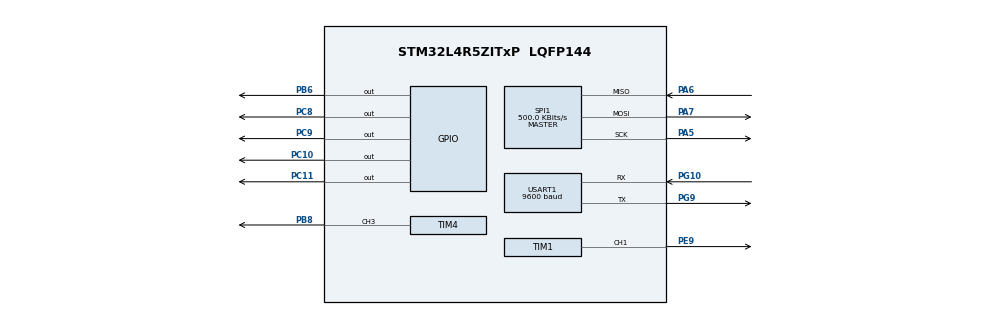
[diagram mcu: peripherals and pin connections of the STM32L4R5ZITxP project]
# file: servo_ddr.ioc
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Mcu.Family=STM32L4
Mcu.Name=STM32L4R5ZITxP
Mcu.Package=LQFP144
NVIC.PriorityGroup=NVIC_PRIORITYGROUP_4
PA0.Signal=S_TIM2_CH1
PA1.Signal=ADCx_IN6
PA10.Signal=USB_OTG_FS_ID
PA13\ (JTMS/SWDIO).Signal=SYS_JTMS-SWDIO
PA14\ (JTCK/SWCLK).Signal=SYS_JTCK-SWCLK
PA3.Signal=ADCx_IN8
PA4.Signal=SPI1_NSS
PA5.Mode=Full_Duplex_Master
PA5.Signal=SPI1_SCK
PA6.Mode=Full_Duplex_Master
PA6.Signal=SPI1_MISO
PA7.Mode=Full_Duplex_Master
PA7.Signal=SPI1_MOSI
PA8.Signal=USB_OTG_FS_SOF
PA9.Signal=USB_OTG_FS_VBUS
PB1.Signal=ADCx_IN16
PB10.Signal=S_TIM2_CH3
PB12.Signal=SAI2_FS_A
PB13.Signal=SAI2_SCK_A
PB14.Signal=S_TIM15_CH1
PB15.Signal=SAI2_SD_A
PB2.Signal=COMP1_INP
PB3\ (JTDO/TRACESWO).Signal=SPI3_SCK
PB4\ (NJTRST).Signal=SPI3_MISO
PB5.Signal=SPI3_MOSI
PB6.Signal=GPIO_Output
PB8.Signal=S_TIM4_CH3
PC0.Signal=ADCx_IN1
PC1.Signal=ADCx_IN2
PC10.Signal=GPIO_Output
PC11.Signal=GPIO_Output
PC12.Signal=SDMMC1_CK
PC13.Signal=SYS_WKUP2
PC14-OSC32_IN\ (PC14).Signal=RCC_OSC32_IN
PC15-OSC32_OUT\ (PC15).Signal=RCC_OSC32_OUT
PC2.Signal=ADCx_IN3
PC3.Signal=ADCx_IN4
PC4.Signal=ADCx_IN13
PC5.Signal=ADCx_IN14
PC6.Signal=SAI2_MCLK_A
PC7.Signal=S_TIM3_CH2
PC8.Signal=GPIO_Output
PC9.Signal=GPIO_Output
PD0.Signal=CAN1_RX
PD2.Signal=SDMMC1_CMD
PD3.Signal=USART2_CTS
PD4.Signal=USART2_RTS
PD5.Signal=USART2_TX
PD6.Signal=USART2_RX
PD8.Signal=USART3_TX
PD9.Signal=USART3_RX
PE0.Signal=S_TIM4_ETR
PE10.Signal=TIM1_CH2N
PE11.Signal=S_TIM1_CH2
PE12.Signal=TIM1_CH3N
PE13.Signal=S_TIM1_CH3
PE14.Signal=TIM1_BKIN2
PE15.Signal=TIM1_BKIN
PE2.Signal=SAI1_MCLK_A
PE3.Signal=SAI1_SD_B
PE7.Signal=S_TIM1_ETR
PE8.Signal=TIM1_CH1N
PE9.Signal=S_TIM1_CH1
PF0.Signal=I2C2_SDA
PF1.Signal=I2C2_SCL
PF2.Signal=I2C2_SMBA
PF7.Signal=SAI1_MCLK_B
PG10.Mode=Asynchronous
PG10.Signal=USART1_RX
PG7.Signal=LPUART1_TX
PG8.Signal=LPUART1_RX
PG9.Mode=Asynchronous
PG9.Signal=USART1_TX
PH0-OSC_IN\ (PH0).Signal=RCC_OSC_IN
PH1-OSC_OUT\ (PH1).Signal=RCC_OSC_OUT
ProjectManager.HeapSize=0x200
ProjectManager.StackSize=0x400
ProjectManager.TargetToolchain=STM32CubeIDE
RCC.HSE_VALUE=8000000
RCC.HSI48_VALUE=48000000
RCC.HSI_VALUE=16000000
RCC.LSE_VALUE=32768
RCC.MSI_VALUE=4000000
RCC.VCOOutputFreq_Value=32000000
SH.ADCx_IN1.0=ADC1_IN1
SH.ADCx_IN13.0=ADC1_IN13
SH.ADCx_IN14.0=ADC1_IN14
SH.ADCx_IN16.0=ADC1_IN16
SH.ADCx_IN2.0=ADC1_IN2
SH.ADCx_IN3.0=ADC1_IN3
SH.ADCx_IN4.0=ADC1_IN4
SH.ADCx_IN6.0=ADC1_IN6
SH.ADCx_IN8.0=ADC1_IN8
SH.S_TIM15_CH1.0=TIM15_CH1
SH.S_TIM1_CH1.0=TIM1_CH1,PWM Generation1 CH1
SH.S_TIM1_CH2.0=TIM1_CH2
SH.S_TIM1_CH3.0=TIM1_CH3
SH.S_TIM1_ETR.0=TIM1_ETR
SH.S_TIM2_CH1.0=TIM2_CH1
SH.S_TIM2_CH3.0=TIM2_CH3
SH.S_TIM3_CH2.0=TIM3_CH2
SH.S_TIM4_CH3.0=TIM4_CH3,PWM Generation3 CH3
SH.S_TIM4_ETR.0=TIM4_ETR
SPI1.BaudRatePrescaler=SPI_BAUDRATEPRESCALER_8
SPI1.CLKPhase=SPI_PHASE_2EDGE
SPI1.CLKPolarity=SPI_POLARITY_HIGH
SPI1.CalculateBaudRate=500.0 KBits/s
SPI1.DataSize=SPI_DATASIZE_8BIT
SPI1.Direction=SPI_DIRECTION_2LINES
SPI1.FirstBit=SPI_FIRSTBIT_LSB
SPI1.Mode=SPI_MODE_MASTER
SPI1.VirtualType=VM_MASTER
TIM1.Channel-PWM\ Generation1\ CH1=TIM_CHANNEL_1
TIM1.Period=20000
TIM1.Prescaler=3
TIM1.Pulse-PWM\ Generation1\ CH1=1300
TIM4.Channel-PWM\ Generation1\ CH1=TIM_CHANNEL_1
TIM4.Channel-PWM\ Generation3\ CH3=TIM_CHANNEL_3
TIM4.Period=20000
TIM4.Prescaler=3
TIM4.Pulse-PWM\ Generation3\ CH3=1700
USART1.BaudRate=9600
USART1.VirtualMode-Asynchronous=VM_ASYNC
VP_TIM1_VS_ClockSourceINT.Mode=Internal
VP_TIM4_VS_ClockSourceINT.Mode=Internal
board=NUCLEO-L4R5ZI-P

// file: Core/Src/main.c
/* USER CODE BEGIN Header */
/**
 ******************************************************************************
 * @file           : main.c
 * @brief          : Main program body
 ******************************************************************************
 * @attention
 *
 * Copyright (c) 2023 STMicroelectronics.
 * All rights reserved.
 *
 * This software is licensed under terms that can be found in the LICENSE file
 * in the root directory of this software component.
 * If no LICENSE file comes with this software, it is provided AS-IS.
 *
 ******************************************************************************
 */
/* USER CODE END Header */
#include "main.h"

SPI_HandleTypeDef hspi1;

TIM_HandleTypeDef htim1;
TIM_HandleTypeDef htim4;

UART_HandleTypeDef huart1;

/* USER CODE BEGIN PV */
// First 5 bytes of DDR pad -> 01 - 03: Header (Will Not Change) & 04 - 05: Digital BTN Values
uint8_t ddr_tx[5] =  {0x01, 0x42, 0x00, 0x00, 0x00};
uint8_t ddr_rx[5];
// ddr pad buffer for eliminating noise (update both when changing)
int ddr_buf_size = 4;
char ddr_buf[4];

int num_u = 0;
int num_d = 0;
int num_l = 0;
int num_r = 0;
int num_s = 0;
int num_x = 0;

int uart_tx_size = 19;
int uart_rx_size = 24;
int punchThreshold = 750;
int leftPunch = 0;
int rightPunch = 0;
int leftPunchDone = 1;
int rightPunchDone = 1;
/* USER CODE END PV */

void SystemClock_Config(void);
static void MX_GPIO_Init(void);
static void MX_SPI1_Init(void);
static void MX_TIM4_Init(void);
static void MX_TIM1_Init(void);
static void MX_USART1_UART_Init(void);

/* USER CODE BEGIN 0 */

/*
 * poll_accell: sends a polling instruction to one of the two handheld XBEE
 * + accelerometer combos. The XBEE returns a packet of data which poll_accel
 * parses and returns the ADC value from the accelerometer
 * */
int poll_accel(uint8_t tx_buf[]){
	uint8_t rx_buf[uart_rx_size];
	//HAL_GPIO_WritePin(GPIOC, GPIO_PIN_9, GPIO_PIN_RESET);
	HAL_StatusTypeDef valT = HAL_UART_Transmit(&huart1, &tx_buf[0], uart_tx_size, 50);
	HAL_StatusTypeDef valR = HAL_UART_Receive(&huart1, &rx_buf[0], uart_rx_size, 100);
	if(valR == HAL_TIMEOUT) {
		//Debug using GPIO
		//HAL_GPIO_WritePin(GPIOC, GPIO_PIN_9, GPIO_PIN_SET);
		/*
		 * Occasionally the XBEE will give garbled data that sends UART into
		 * an infinite timeout loop, these statements are used to reset it
		*/
		HAL_UART_DeInit(&huart1);
		HAL_UART_Init(&huart1);
		return 0;
	}
	return (rx_buf[uart_rx_size - 3] << 8 | rx_buf[uart_rx_size - 2]);
}

// used by punch_logic to activate the left, right, or left and right solenoids
void punch(int left, int right) {
	if(right) {
		HAL_GPIO_WritePin(GPIOC, GPIO_PIN_9, GPIO_PIN_RESET);
		HAL_GPIO_WritePin(GPIOC, GPIO_PIN_8, GPIO_PIN_SET);
	}
	if(left){
		HAL_GPIO_WritePin(GPIOC, GPIO_PIN_11, GPIO_PIN_RESET);
		HAL_GPIO_WritePin(GPIOC, GPIO_PIN_10, GPIO_PIN_SET);
	}
	HAL_Delay(40);
	if(right) {
		HAL_GPIO_WritePin(GPIOC, GPIO_PIN_8, GPIO_PIN_RESET);
		HAL_GPIO_WritePin(GPIOC, GPIO_PIN_9, GPIO_PIN_SET);
	}
	if(left) {
		HAL_GPIO_WritePin(GPIOC, GPIO_PIN_10, GPIO_PIN_RESET);
		HAL_GPIO_WritePin(GPIOC, GPIO_PIN_11, GPIO_PIN_SET);
	}
	HAL_Delay(100);
	HAL_GPIO_WritePin(GPIOC, GPIO_PIN_8, GPIO_PIN_RESET);
	HAL_GPIO_WritePin(GPIOC, GPIO_PIN_9, GPIO_PIN_RESET);
	HAL_GPIO_WritePin(GPIOC, GPIO_PIN_10, GPIO_PIN_RESET);
	HAL_GPIO_WritePin(GPIOC, GPIO_PIN_11, GPIO_PIN_RESET);
	leftPunch = 0;
	rightPunch = 0;
	return;
}

// takes in the left and right accel values and activates solenoids using punch
void punch_logic(int left_accel_val, int right_accel_val) {
	if(leftPunchDone) {
				if(left_accel_val > punchThreshold) {
					leftPunch = 1;
					leftPunchDone = 0;
				}
			} else {
				if(left_accel_val < punchThreshold) {
					leftPunchDone = 1;
				}
			}
			if(rightPunchDone) {
				if(right_accel_val > punchThreshold) {
					rightPunch = 1;
					rightPunchDone = 0;
				}
			} else {
				if(right_accel_val < punchThreshold) {
					rightPunchDone = 1;
				}
			}

			if (leftPunch | rightPunch) {
				punch(leftPunch, rightPunch);
			}
	return;
}

/*
 * This functions breaks down the 4th byte extracted from the DDR pad
 * and return a char of the designated direction
 */
char bit_extract (uint8_t ddr_byte_3, uint8_t ddr_byte_4) {
	// Grab up
	uint8_t up = (ddr_byte_3 << 3) >> 7;
	uint8_t right = (ddr_byte_3 << 2) >> 7;
	uint8_t left = (ddr_byte_3 << 0) >> 7;
	uint8_t down = (ddr_byte_3 << 1) >> 7;
	uint8_t circ = (ddr_byte_4 << 2) >> 7;

	up &= (0b1);
	right &= (0b1);
	left &= (0b1);
	down &= (0b1);
	circ &= (0b1);
	if (!circ)
		return 's';
	else if(!up)
		return 'u';
	else if (!right)
		return 'r';
	else if (!left)
		return 'l';
	else if (!down)
		return 'd';

	return 'x';
}

// polls the ddr pad and loads result in ddr_rx
char poll_ddr(){
	// DDR Pad Data Request - These values (ddr_rx[4] & ddr_rx[5] will be used for the movement)
	// RESET ATTN line before sent/receive
	HAL_GPIO_WritePin(GPIOB, GPIO_PIN_6, GPIO_PIN_RESET);

	// Transmit/Receive byte by byte
	HAL_SPI_TransmitReceive(&hspi1, &ddr_tx[0], &ddr_rx[0], 1, 100);
	HAL_SPI_TransmitReceive(&hspi1, &ddr_tx[1], &ddr_rx[1], 1, 100);
	HAL_SPI_TransmitReceive(&hspi1, &ddr_tx[2], &ddr_rx[2], 1, 100);
	HAL_SPI_TransmitReceive(&hspi1, &ddr_tx[3], &ddr_rx[3], 1, 100);
	HAL_SPI_TransmitReceive(&hspi1, &ddr_tx[4], &ddr_rx[4], 1, 100);

	// SET ATTN line after sent/receive
	HAL_GPIO_WritePin(GPIOB, GPIO_PIN_6, GPIO_PIN_SET);

	//calculate directional output using an 8 poll buffer
	char direction = bit_extract(ddr_rx[3], ddr_rx[4]);

	//update counts
	if (direction == 'u')
		num_u += 1;
	else if (direction == 'd')
		num_d += 1;
	else if (direction == 'l')
		num_l += 1;
	else if (direction == 'r')
		num_r += 1;
	else if (direction == 's')
		num_s += 1;
	else
		num_x += 1;

	if (ddr_buf[ddr_buf_size - 1] == 'u')
		num_u -= 1;
	else if (ddr_buf[ddr_buf_size - 1] == 'd')
		num_d -= 1;
	else if (ddr_buf[ddr_buf_size - 1] == 'l')
		num_l -= 1;
	else if (ddr_buf[ddr_buf_size - 1] == 'r')
		num_r -= 1;
	else if (ddr_buf[ddr_buf_size - 1] == 's')
			num_s -= 1;
	else
		num_x -= 1;

	//update buffer
	for(int i = ddr_buf_size - 1; i > 0; i--){
		ddr_buf[i] = ddr_buf[i-1];
	}
	ddr_buf[0] = direction;

	//return if majority
	int majority = ddr_buf_size/2 + 1;
	if (num_u >= majority)
		return 'u';
	else if (num_d >= majority)
		return 'd';
	else if (num_l >= majority)
		return 'l';
	else if (num_r >= majority)
		return 'r';
	else if (num_s >= majority)
		return 's';
	else
		return 'x';

}

// FOR THE CODE BELOW YOU MIGHT NEED TO HAVE IT STOP ACCEPTING INPUT IF THE X OR Y DIRECTION REACHES ITS MINIMUM/MAXIMUM

// Increase or Decrease left Servo position
int left_pos_change (char dir) {
	int extend = 2100;
	int dodge = 1900;
	int retract = 1500;
	int neutral = 1700;
	// Change Servo Position based on input from DDR pad
	switch(dir) {
	case 'u':
		return extend;
	case 'd':
		return retract;
	case 'l':
		return retract;
	case 'r':
		return dodge;
	default:
		return neutral;
	}
}

// Increase or Decrease right Servo position
int right_pos_change (char dir) {
	int extend = 900;
	int dodge = 1100;
	int retract = 1500;
	int neutral = 1300;
	// Change Servo Position based on input from DDR pad
	switch(dir) {
	case 'u':
		return extend;
	case 'd':
		return retract;
	case 'l':
		return dodge;
	case 'r':
		return retract;
	default:
		return neutral;
	}
}

// takes ddr data in rx_buf and writes to the servos
void move(char direction) {

	// Send Info to left and right servos
	int left_pos = left_pos_change(direction);
	int right_pos = right_pos_change(direction);
	//leftpos = 1100 rightpos = 1900 is back
	//leftpos = 1900 rightpos = 1100 is front
	__HAL_TIM_SetCompare(&htim4, TIM_CHANNEL_3, left_pos);
	__HAL_TIM_SetCompare(&htim1, TIM_CHANNEL_1, right_pos);
	return;
}

/* USER CODE END 0 */

int main(void)
{

  /* MCU Configuration--------------------------------------------------------*/

  /* Reset of all peripherals, Initializes the Flash interface and the Systick. */
  HAL_Init();

  /* Configure the system clock */
  SystemClock_Config();

  /* Initialize all configured peripherals */
  MX_GPIO_Init();
  MX_SPI1_Init();
  MX_TIM4_Init();
  MX_TIM1_Init();
  MX_USART1_UART_Init();
  /* USER CODE BEGIN 2 */

	//Reset all GPIO pins
	HAL_GPIO_WritePin(GPIOC, GPIO_PIN_8, GPIO_PIN_RESET);
	HAL_GPIO_WritePin(GPIOC, GPIO_PIN_9, GPIO_PIN_RESET);
	HAL_GPIO_WritePin(GPIOC, GPIO_PIN_10, GPIO_PIN_RESET);
	HAL_GPIO_WritePin(GPIOC, GPIO_PIN_11, GPIO_PIN_RESET);

	//Set buffers to XBEE polling commands
	uint8_t left_tx_buf[uart_tx_size];
	uint8_t right_tx_buf[uart_tx_size];

	//LEFT HAND "OK TAPE"
	left_tx_buf[0] = 0x7E;
	left_tx_buf[1] = 0x00;
	left_tx_buf[2] = 0x0F;
	left_tx_buf[3] = 0x17;
	left_tx_buf[4] = 0x01;
	left_tx_buf[5] = 0x00;
	left_tx_buf[6] = 0x13;
	left_tx_buf[7] = 0xA2;
	left_tx_buf[8] = 0x00;
	left_tx_buf[9] = 0x40;
	left_tx_buf[10] = 0xDC;
	left_tx_buf[11] = 0xEB;
	left_tx_buf[12] = 0x52;
	left_tx_buf[13] = 0xFF;
	left_tx_buf[14] = 0xFE;
	left_tx_buf[15] = 0x02;
	left_tx_buf[16] = 0x69;
	left_tx_buf[17] = 0x73;
	left_tx_buf[18] = 0xFE;

	//RIGHT HAND "OK"
	right_tx_buf[0] = 0x7E;
	right_tx_buf[1] = 0x00;
	right_tx_buf[2] = 0x0F;
	right_tx_buf[3] = 0x17;
	right_tx_buf[4] = 0x01;
	right_tx_buf[5] = 0x00;
	right_tx_buf[6] = 0x13;
	right_tx_buf[7] = 0xA2;
	right_tx_buf[8] = 0x00;
	right_tx_buf[9] = 0x40;
	right_tx_buf[10] = 0xDC;
	right_tx_buf[11] = 0x2F;
	right_tx_buf[12] = 0x3A;
	right_tx_buf[13] = 0xFF;
	right_tx_buf[14] = 0xFE;
	right_tx_buf[15] = 0x02;
	right_tx_buf[16] = 0x69;
	right_tx_buf[17] = 0x73;
	right_tx_buf[18] = 0xD2;

	// Dance Dance Revolution Pad Set-up/Variables

	// This is for the Attention Line for DDR pad (GPIO_Output)
	// *PLEASE NOTE* - the ATTN Line must be RESET before a Transmit/Receive through SPI and then must be SET after
	HAL_GPIO_WritePin(GPIOB, GPIO_PIN_6, GPIO_PIN_SET);
	for(int i = 0; i < ddr_buf_size; i++){
		ddr_buf[i] = 'x';
		num_x += 1;
	}

	// Start up PWM Timers
	HAL_TIM_PWM_Start(&htim4, TIM_CHANNEL_3);
	HAL_TIM_PWM_Start(&htim1, TIM_CHANNEL_1);

	char game_start = 'x';
	while(game_start != 's'){
		game_start = poll_ddr();
	}
	while(game_start == 's'){
		game_start = poll_ddr();
	}
  /* USER CODE END 2 */

  /* Infinite loop */
  /* USER CODE BEGIN WHILE */
	while (1)
	{
		// Left and Right Accelerometer Values
		int left_accel_val = poll_accel(left_tx_buf);
		int right_accel_val = poll_accel(right_tx_buf);
		punch_logic(left_accel_val, right_accel_val);
		char direction = poll_ddr();
		if(direction == 's') {

			// Toggle On/Off
			while(direction == 's'){
				direction = poll_ddr();
			}
			while(direction != 's'){
				direction = poll_ddr();
			}
			while(direction == 's'){
				direction = poll_ddr();
			}

		}
		move(direction);

    /* USER CODE END WHILE */

	}
}

void SystemClock_Config(void)
{
  RCC_OscInitTypeDef RCC_OscInitStruct = {0};
  RCC_ClkInitTypeDef RCC_ClkInitStruct = {0};

  /** Configure the main internal regulator output voltage
  */
  if (HAL_PWREx_ControlVoltageScaling(PWR_REGULATOR_VOLTAGE_SCALE1) != HAL_OK)
  {
    Error_Handler();
  }

  /** Initializes the RCC Oscillators according to the specified parameters
  * in the RCC_OscInitTypeDef structure.
  */
  RCC_OscInitStruct.OscillatorType = RCC_OSCILLATORTYPE_MSI;
  RCC_OscInitStruct.MSIState = RCC_MSI_ON;
  RCC_OscInitStruct.MSICalibrationValue = 0;
  RCC_OscInitStruct.MSIClockRange = RCC_MSIRANGE_6;
  RCC_OscInitStruct.PLL.PLLState = RCC_PLL_NONE;
  if (HAL_RCC_OscConfig(&RCC_OscInitStruct) != HAL_OK)
  {
    Error_Handler();
  }

  /** Initializes the CPU, AHB and APB buses clocks
  */
  RCC_ClkInitStruct.ClockType = RCC_CLOCKTYPE_HCLK|RCC_CLOCKTYPE_SYSCLK
                              |RCC_CLOCKTYPE_PCLK1|RCC_CLOCKTYPE_PCLK2;
  RCC_ClkInitStruct.SYSCLKSource = RCC_SYSCLKSOURCE_MSI;
  RCC_ClkInitStruct.AHBCLKDivider = RCC_SYSCLK_DIV1;
  RCC_ClkInitStruct.APB1CLKDivider = RCC_HCLK_DIV1;
  RCC_ClkInitStruct.APB2CLKDivider = RCC_HCLK_DIV1;

  if (HAL_RCC_ClockConfig(&RCC_ClkInitStruct, FLASH_LATENCY_0) != HAL_OK)
  {
    Error_Handler();
  }
}

static void MX_SPI1_Init(void)
{

  /* SPI1 parameter configuration*/
  hspi1.Instance = SPI1;
  hspi1.Init.Mode = SPI_MODE_MASTER;
  hspi1.Init.Direction = SPI_DIRECTION_2LINES;
  hspi1.Init.DataSize = SPI_DATASIZE_8BIT;
  hspi1.Init.CLKPolarity = SPI_POLARITY_HIGH;
  hspi1.Init.CLKPhase = SPI_PHASE_2EDGE;
  hspi1.Init.NSS = SPI_NSS_SOFT;
  hspi1.Init.BaudRatePrescaler = SPI_BAUDRATEPRESCALER_8;
  hspi1.Init.FirstBit = SPI_FIRSTBIT_LSB;
  hspi1.Init.TIMode = SPI_TIMODE_DISABLE;
  hspi1.Init.CRCCalculation = SPI_CRCCALCULATION_DISABLE;
  hspi1.Init.CRCPolynomial = 7;
  hspi1.Init.CRCLength = SPI_CRC_LENGTH_DATASIZE;
  hspi1.Init.NSSPMode = SPI_NSS_PULSE_DISABLE;
  if (HAL_SPI_Init(&hspi1) != HAL_OK)
  {
    Error_Handler();
  }

}

static void MX_TIM1_Init(void)
{

  TIM_ClockConfigTypeDef sClockSourceConfig = {0};
  TIM_MasterConfigTypeDef sMasterConfig = {0};
  TIM_OC_InitTypeDef sConfigOC = {0};
  TIM_BreakDeadTimeConfigTypeDef sBreakDeadTimeConfig = {0};

  htim1.Instance = TIM1;
  htim1.Init.Prescaler = 3;
  htim1.Init.CounterMode = TIM_COUNTERMODE_UP;
  htim1.Init.Period = 20000;
  htim1.Init.ClockDivision = TIM_CLOCKDIVISION_DIV1;
  htim1.Init.RepetitionCounter = 0;
  htim1.Init.AutoReloadPreload = TIM_AUTORELOAD_PRELOAD_DISABLE;
  if (HAL_TIM_Base_Init(&htim1) != HAL_OK)
  {
    Error_Handler();
  }
  sClockSourceConfig.ClockSource = TIM_CLOCKSOURCE_INTERNAL;
  if (HAL_TIM_ConfigClockSource(&htim1, &sClockSourceConfig) != HAL_OK)
  {
    Error_Handler();
  }
  if (HAL_TIM_PWM_Init(&htim1) != HAL_OK)
  {
    Error_Handler();
  }
  sMasterConfig.MasterOutputTrigger = TIM_TRGO_RESET;
  sMasterConfig.MasterOutputTrigger2 = TIM_TRGO2_RESET;
  sMasterConfig.MasterSlaveMode = TIM_MASTERSLAVEMODE_DISABLE;
  if (HAL_TIMEx_MasterConfigSynchronization(&htim1, &sMasterConfig) != HAL_OK)
  {
    Error_Handler();
  }
  sConfigOC.OCMode = TIM_OCMODE_PWM1;
  sConfigOC.Pulse = 1300;
  sConfigOC.OCPolarity = TIM_OCPOLARITY_HIGH;
  sConfigOC.OCNPolarity = TIM_OCNPOLARITY_HIGH;
  sConfigOC.OCFastMode = TIM_OCFAST_DISABLE;
  sConfigOC.OCIdleState = TIM_OCIDLESTATE_RESET;
  sConfigOC.OCNIdleState = TIM_OCNIDLESTATE_RESET;
  if (HAL_TIM_PWM_ConfigChannel(&htim1, &sConfigOC, TIM_CHANNEL_1) != HAL_OK)
  {
    Error_Handler();
  }
  sBreakDeadTimeConfig.OffStateRunMode = TIM_OSSR_DISABLE;
  sBreakDeadTimeConfig.OffStateIDLEMode = TIM_OSSI_DISABLE;
  sBreakDeadTimeConfig.LockLevel = TIM_LOCKLEVEL_OFF;
  sBreakDeadTimeConfig.DeadTime = 0;
  sBreakDeadTimeConfig.BreakState = TIM_BREAK_DISABLE;
  sBreakDeadTimeConfig.BreakPolarity = TIM_BREAKPOLARITY_HIGH;
  sBreakDeadTimeConfig.BreakFilter = 0;
  sBreakDeadTimeConfig.Break2State = TIM_BREAK2_DISABLE;
  sBreakDeadTimeConfig.Break2Polarity = TIM_BREAK2POLARITY_HIGH;
  sBreakDeadTimeConfig.Break2Filter = 0;
  sBreakDeadTimeConfig.AutomaticOutput = TIM_AUTOMATICOUTPUT_DISABLE;
  if (HAL_TIMEx_ConfigBreakDeadTime(&htim1, &sBreakDeadTimeConfig) != HAL_OK)
  {
    Error_Handler();
  }
  HAL_TIM_MspPostInit(&htim1);

}

static void MX_TIM4_Init(void)
{

  TIM_ClockConfigTypeDef sClockSourceConfig = {0};
  TIM_MasterConfigTypeDef sMasterConfig = {0};
  TIM_OC_InitTypeDef sConfigOC = {0};

  htim4.Instance = TIM4;
  htim4.Init.Prescaler = 3;
  htim4.Init.CounterMode = TIM_COUNTERMODE_UP;
  htim4.Init.Period = 20000;
  htim4.Init.ClockDivision = TIM_CLOCKDIVISION_DIV1;
  htim4.Init.AutoReloadPreload = TIM_AUTORELOAD_PRELOAD_DISABLE;
  if (HAL_TIM_Base_Init(&htim4) != HAL_OK)
  {
    Error_Handler();
  }
  sClockSourceConfig.ClockSource = TIM_CLOCKSOURCE_INTERNAL;
  if (HAL_TIM_ConfigClockSource(&htim4, &sClockSourceConfig) != HAL_OK)
  {
    Error_Handler();
  }
  if (HAL_TIM_PWM_Init(&htim4) != HAL_OK)
  {
    Error_Handler();
  }
  sMasterConfig.MasterOutputTrigger = TIM_TRGO_RESET;
  sMasterConfig.MasterSlaveMode = TIM_MASTERSLAVEMODE_DISABLE;
  if (HAL_TIMEx_MasterConfigSynchronization(&htim4, &sMasterConfig) != HAL_OK)
  {
    Error_Handler();
  }
  sConfigOC.OCMode = TIM_OCMODE_PWM1;
  sConfigOC.Pulse = 1700;
  sConfigOC.OCPolarity = TIM_OCPOLARITY_HIGH;
  sConfigOC.OCFastMode = TIM_OCFAST_DISABLE;
  if (HAL_TIM_PWM_ConfigChannel(&htim4, &sConfigOC, TIM_CHANNEL_3) != HAL_OK)
  {
    Error_Handler();
  }
  HAL_TIM_MspPostInit(&htim4);

}

static void MX_USART1_UART_Init(void)
{

  huart1.Instance = USART1;
  huart1.Init.BaudRate = 9600;
  huart1.Init.WordLength = UART_WORDLENGTH_8B;
  huart1.Init.StopBits = UART_STOPBITS_1;
  huart1.Init.Parity = UART_PARITY_NONE;
  huart1.Init.Mode = UART_MODE_TX_RX;
  huart1.Init.HwFlowCtl = UART_HWCONTROL_NONE;
  huart1.Init.OverSampling = UART_OVERSAMPLING_16;
  huart1.Init.OneBitSampling = UART_ONE_BIT_SAMPLE_DISABLE;
  huart1.Init.ClockPrescaler = UART_PRESCALER_DIV1;
  huart1.AdvancedInit.AdvFeatureInit = UART_ADVFEATURE_NO_INIT;
  if (HAL_UART_Init(&huart1) != HAL_OK)
  {
    Error_Handler();
  }
  if (HAL_UARTEx_SetTxFifoThreshold(&huart1, UART_TXFIFO_THRESHOLD_1_8) != HAL_OK)
  {
    Error_Handler();
  }
  if (HAL_UARTEx_SetRxFifoThreshold(&huart1, UART_RXFIFO_THRESHOLD_1_8) != HAL_OK)
  {
    Error_Handler();
  }
  if (HAL_UARTEx_DisableFifoMode(&huart1) != HAL_OK)
  {
    Error_Handler();
  }

}

static void MX_GPIO_Init(void)
{
  GPIO_InitTypeDef GPIO_InitStruct = {0};

  /* GPIO Ports Clock Enable */
  __HAL_RCC_GPIOE_CLK_ENABLE();
  __HAL_RCC_GPIOC_CLK_ENABLE();
  __HAL_RCC_GPIOF_CLK_ENABLE();
  __HAL_RCC_GPIOH_CLK_ENABLE();
  __HAL_RCC_GPIOA_CLK_ENABLE();
  __HAL_RCC_GPIOB_CLK_ENABLE();
  __HAL_RCC_GPIOD_CLK_ENABLE();
  __HAL_RCC_GPIOG_CLK_ENABLE();
  HAL_PWREx_EnableVddIO2();

  /*Configure GPIO pin Output Level */
  HAL_GPIO_WritePin(GPIOC, GPIO_PIN_8|GPIO_PIN_9|GPIO_PIN_10|GPIO_PIN_11, GPIO_PIN_RESET);

  /*Configure GPIO pin Output Level */
  HAL_GPIO_WritePin(GPIOB, GPIO_PIN_6, GPIO_PIN_RESET);

  /*Configure GPIO pins : PE2 PE3 */
  GPIO_InitStruct.Pin = GPIO_PIN_2|GPIO_PIN_3;
  GPIO_InitStruct.Mode = GPIO_MODE_AF_PP;
  GPIO_InitStruct.Pull = GPIO_NOPULL;
  GPIO_InitStruct.Speed = GPIO_SPEED_FREQ_LOW;
  GPIO_InitStruct.Alternate = GPIO_AF13_SAI1;
  HAL_GPIO_Init(GPIOE, &GPIO_InitStruct);

  /*Configure GPIO pins : PF0 PF1 PF2 */
  GPIO_InitStruct.Pin = GPIO_PIN_0|GPIO_PIN_1|GPIO_PIN_2;
  GPIO_InitStruct.Mode = GPIO_MODE_AF_OD;
  GPIO_InitStruct.Pull = GPIO_NOPULL;
  GPIO_InitStruct.Speed = GPIO_SPEED_FREQ_VERY_HIGH;
  GPIO_InitStruct.Alternate = GPIO_AF4_I2C2;
  HAL_GPIO_Init(GPIOF, &GPIO_InitStruct);

  /*Configure GPIO pin : PF7 */
  GPIO_InitStruct.Pin = GPIO_PIN_7;
  GPIO_InitStruct.Mode = GPIO_MODE_AF_PP;
  GPIO_InitStruct.Pull = GPIO_NOPULL;
  GPIO_InitStruct.Speed = GPIO_SPEED_FREQ_LOW;
  GPIO_InitStruct.Alternate = GPIO_AF13_SAI1;
  HAL_GPIO_Init(GPIOF, &GPIO_InitStruct);

  /*Configure GPIO pins : PC0 PC1 PC2 PC3
                           PC4 PC5 */
  GPIO_InitStruct.Pin = GPIO_PIN_0|GPIO_PIN_1|GPIO_PIN_2|GPIO_PIN_3
                          |GPIO_PIN_4|GPIO_PIN_5;
  GPIO_InitStruct.Mode = GPIO_MODE_ANALOG_ADC_CONTROL;
  GPIO_InitStruct.Pull = GPIO_NOPULL;
  HAL_GPIO_Init(GPIOC, &GPIO_InitStruct);

  /*Configure GPIO pin : PA0 */
  GPIO_InitStruct.Pin = GPIO_PIN_0;
  GPIO_InitStruct.Mode = GPIO_MODE_AF_PP;
  GPIO_InitStruct.Pull = GPIO_NOPULL;
  GPIO_InitStruct.Speed = GPIO_SPEED_FREQ_LOW;
  GPIO_InitStruct.Alternate = GPIO_AF1_TIM2;
  HAL_GPIO_Init(GPIOA, &GPIO_InitStruct);

  /*Configure GPIO pins : PA1 PA3 */
  GPIO_InitStruct.Pin = GPIO_PIN_1|GPIO_PIN_3;
  GPIO_InitStruct.Mode = GPIO_MODE_ANALOG_ADC_CONTROL;
  GPIO_InitStruct.Pull = GPIO_NOPULL;
  HAL_GPIO_Init(GPIOA, &GPIO_InitStruct);

  /*Configure GPIO pin : PB1 */
  GPIO_InitStruct.Pin = GPIO_PIN_1;
  GPIO_InitStruct.Mode = GPIO_MODE_ANALOG_ADC_CONTROL;
  GPIO_InitStruct.Pull = GPIO_NOPULL;
  HAL_GPIO_Init(GPIOB, &GPIO_InitStruct);

  /*Configure GPIO pin : PB2 */
  GPIO_InitStruct.Pin = GPIO_PIN_2;
  GPIO_InitStruct.Mode = GPIO_MODE_ANALOG;
  GPIO_InitStruct.Pull = GPIO_NOPULL;
  HAL_GPIO_Init(GPIOB, &GPIO_InitStruct);

  /*Configure GPIO pin : PB10 */
  GPIO_InitStruct.Pin = GPIO_PIN_10;
  GPIO_InitStruct.Mode = GPIO_MODE_AF_PP;
  GPIO_InitStruct.Pull = GPIO_NOPULL;
  GPIO_InitStruct.Speed = GPIO_SPEED_FREQ_LOW;
  GPIO_InitStruct.Alternate = GPIO_AF1_TIM2;
  HAL_GPIO_Init(GPIOB, &GPIO_InitStruct);

  /*Configure GPIO pins : PB12 PB13 PB15 */
  GPIO_InitStruct.Pin = GPIO_PIN_12|GPIO_PIN_13|GPIO_PIN_15;
  GPIO_InitStruct.Mode = GPIO_MODE_AF_PP;
  GPIO_InitStruct.Pull = GPIO_NOPULL;
  GPIO_InitStruct.Speed = GPIO_SPEED_FREQ_LOW;
  GPIO_InitStruct.Alternate = GPIO_AF13_SAI2;
  HAL_GPIO_Init(GPIOB, &GPIO_InitStruct);

  /*Configure GPIO pin : PB14 */
  GPIO_InitStruct.Pin = GPIO_PIN_14;
  GPIO_InitStruct.Mode = GPIO_MODE_AF_PP;
  GPIO_InitStruct.Pull = GPIO_NOPULL;
  GPIO_InitStruct.Speed = GPIO_SPEED_FREQ_LOW;
  GPIO_InitStruct.Alternate = GPIO_AF14_TIM15;
  HAL_GPIO_Init(GPIOB, &GPIO_InitStruct);

  /*Configure GPIO pins : PD8 PD9 */
  GPIO_InitStruct.Pin = GPIO_PIN_8|GPIO_PIN_9;
  GPIO_InitStruct.Mode = GPIO_MODE_AF_PP;
  GPIO_InitStruct.Pull = GPIO_NOPULL;
  GPIO_InitStruct.Speed = GPIO_SPEED_FREQ_VERY_HIGH;
  GPIO_InitStruct.Alternate = GPIO_AF7_USART3;
  HAL_GPIO_Init(GPIOD, &GPIO_InitStruct);

  /*Configure GPIO pins : PG7 PG8 */
  GPIO_InitStruct.Pin = GPIO_PIN_7|GPIO_PIN_8;
  GPIO_InitStruct.Mode = GPIO_MODE_AF_PP;
  GPIO_InitStruct.Pull = GPIO_NOPULL;
  GPIO_InitStruct.Speed = GPIO_SPEED_FREQ_VERY_HIGH;
  GPIO_InitStruct.Alternate = GPIO_AF8_LPUART1;
  HAL_GPIO_Init(GPIOG, &GPIO_InitStruct);

  /*Configure GPIO pin : PC6 */
  GPIO_InitStruct.Pin = GPIO_PIN_6;
  GPIO_InitStruct.Mode = GPIO_MODE_AF_PP;
  GPIO_InitStruct.Pull = GPIO_NOPULL;
  GPIO_InitStruct.Speed = GPIO_SPEED_FREQ_LOW;
  GPIO_InitStruct.Alternate = GPIO_AF13_SAI2;
  HAL_GPIO_Init(GPIOC, &GPIO_InitStruct);

  /*Configure GPIO pin : PC7 */
  GPIO_InitStruct.Pin = GPIO_PIN_7;
  GPIO_InitStruct.Mode = GPIO_MODE_AF_PP;
  GPIO_InitStruct.Pull = GPIO_NOPULL;
  GPIO_InitStruct.Speed = GPIO_SPEED_FREQ_LOW;
  GPIO_InitStruct.Alternate = GPIO_AF2_TIM3;
  HAL_GPIO_Init(GPIOC, &GPIO_InitStruct);

  /*Configure GPIO pins : PC8 PC9 PC10 PC11 */
  GPIO_InitStruct.Pin = GPIO_PIN_8|GPIO_PIN_9|GPIO_PIN_10|GPIO_PIN_11;
  GPIO_InitStruct.Mode = GPIO_MODE_OUTPUT_PP;
  GPIO_InitStruct.Pull = GPIO_NOPULL;
  GPIO_InitStruct.Speed = GPIO_SPEED_FREQ_LOW;
  HAL_GPIO_Init(GPIOC, &GPIO_InitStruct);

  /*Configure GPIO pins : PA8 PA10 */
  GPIO_InitStruct.Pin = GPIO_PIN_8|GPIO_PIN_10;
  GPIO_InitStruct.Mode = GPIO_MODE_AF_PP;
  GPIO_InitStruct.Pull = GPIO_NOPULL;
  GPIO_InitStruct.Speed = GPIO_SPEED_FREQ_VERY_HIGH;
  GPIO_InitStruct.Alternate = GPIO_AF10_OTG_FS;
  HAL_GPIO_Init(GPIOA, &GPIO_InitStruct);

  /*Configure GPIO pin : PA9 */
  GPIO_InitStruct.Pin = GPIO_PIN_9;
  GPIO_InitStruct.Mode = GPIO_MODE_INPUT;
  GPIO_InitStruct.Pull = GPIO_NOPULL;
  HAL_GPIO_Init(GPIOA, &GPIO_InitStruct);

  /*Configure GPIO pin : PC12 */
  GPIO_InitStruct.Pin = GPIO_PIN_12;
  GPIO_InitStruct.Mode = GPIO_MODE_AF_PP;
  GPIO_InitStruct.Pull = GPIO_NOPULL;
  GPIO_InitStruct.Speed = GPIO_SPEED_FREQ_VERY_HIGH;
  GPIO_InitStruct.Alternate = GPIO_AF12_SDMMC1;
  HAL_GPIO_Init(GPIOC, &GPIO_InitStruct);

  /*Configure GPIO pin : PD0 */
  GPIO_InitStruct.Pin = GPIO_PIN_0;
  GPIO_InitStruct.Mode = GPIO_MODE_AF_PP;
  GPIO_InitStruct.Pull = GPIO_NOPULL;
  GPIO_InitStruct.Speed = GPIO_SPEED_FREQ_VERY_HIGH;
  GPIO_InitStruct.Alternate = GPIO_AF9_CAN1;
  HAL_GPIO_Init(GPIOD, &GPIO_InitStruct);

  /*Configure GPIO pin : PD2 */
  GPIO_InitStruct.Pin = GPIO_PIN_2;
  GPIO_InitStruct.Mode = GPIO_MODE_AF_PP;
  GPIO_InitStruct.Pull = GPIO_NOPULL;
  GPIO_InitStruct.Speed = GPIO_SPEED_FREQ_VERY_HIGH;
  GPIO_InitStruct.Alternate = GPIO_AF12_SDMMC1;
  HAL_GPIO_Init(GPIOD, &GPIO_InitStruct);

  /*Configure GPIO pins : PD3 PD4 PD5 PD6 */
  GPIO_InitStruct.Pin = GPIO_PIN_3|GPIO_PIN_4|GPIO_PIN_5|GPIO_PIN_6;
  GPIO_InitStruct.Mode = GPIO_MODE_AF_PP;
  GPIO_InitStruct.Pull = GPIO_NOPULL;
  GPIO_InitStruct.Speed = GPIO_SPEED_FREQ_VERY_HIGH;
  GPIO_InitStruct.Alternate = GPIO_AF7_USART2;
  HAL_GPIO_Init(GPIOD, &GPIO_InitStruct);

  /*Configure GPIO pins : PB3 PB4 PB5 */
  GPIO_InitStruct.Pin = GPIO_PIN_3|GPIO_PIN_4|GPIO_PIN_5;
  GPIO_InitStruct.Mode = GPIO_MODE_AF_PP;
  GPIO_InitStruct.Pull = GPIO_NOPULL;
  GPIO_InitStruct.Speed = GPIO_SPEED_FREQ_VERY_HIGH;
  GPIO_InitStruct.Alternate = GPIO_AF6_SPI3;
  HAL_GPIO_Init(GPIOB, &GPIO_InitStruct);

  /*Configure GPIO pin : PB6 */
  GPIO_InitStruct.Pin = GPIO_PIN_6;
  GPIO_InitStruct.Mode = GPIO_MODE_OUTPUT_PP;
  GPIO_InitStruct.Pull = GPIO_NOPULL;
  GPIO_InitStruct.Speed = GPIO_SPEED_FREQ_LOW;
  HAL_GPIO_Init(GPIOB, &GPIO_InitStruct);

}

void Error_Handler(void)
{
	__disable_irq();
	while (1)
	{
	}
}
